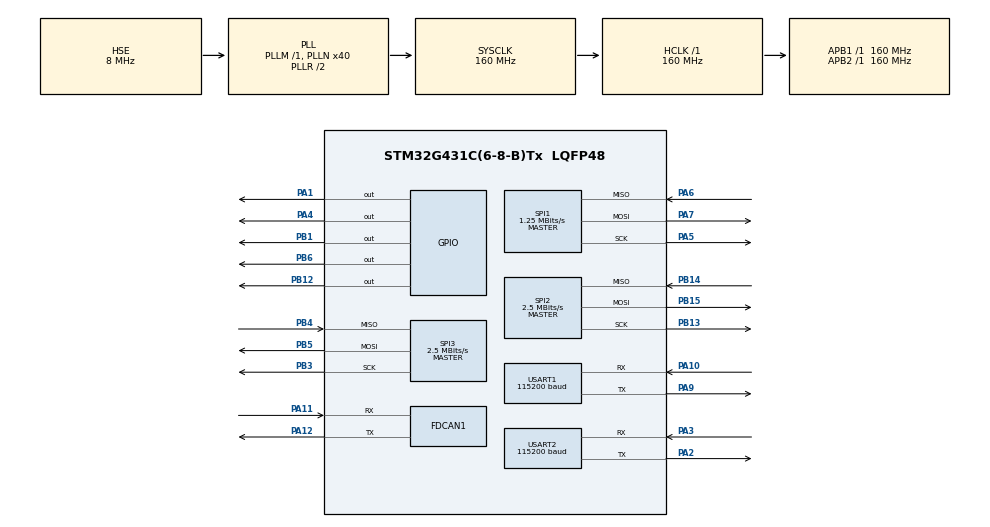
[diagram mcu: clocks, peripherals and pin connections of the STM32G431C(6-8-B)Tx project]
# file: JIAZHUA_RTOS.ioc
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FDCAN1.AutoRetransmission=DISABLE
FDCAN1.CalculateBaudRateNominal=1000000
FDCAN1.CalculateTimeBitNominal=1000
FDCAN1.CalculateTimeQuantumNominal=50.0
FDCAN1.ClockDivider=FDCAN_CLOCK_DIV1
FDCAN1.DataPrescaler=4
FDCAN1.DataSyncJumpWidth=5
FDCAN1.DataTimeSeg1=14
FDCAN1.DataTimeSeg2=5
FDCAN1.NominalPrescaler=4
FDCAN1.NominalSyncJumpWidth=5
FDCAN1.NominalTimeSeg1=14
FDCAN1.NominalTimeSeg2=5
FDCAN1.StdFiltersNbr=1
FREERTOS.BinarySemaphores01=Spi2RxSem,Dynamic,NULL,Depleted;Spi3RxSem,Dynamic,NULL,Depleted
FREERTOS.Tasks01=MOTORTask,40,1024,StartMOTORTask,Default,NULL,Dynamic,NULL,NULL;LEDTask,8,128,StartLEDTask,Default,NULL,Dynamic,NULL,NULL;AS5048ATask,8,512,StartAS5048ATask,Default,NULL,Dynamic,NULL,NULL;PRESSURETask,24,1024,StartPRESSURETask,Default,NULL,Dynamic,NULL,NULL;UART1PrintTask,8,768,StartUART1PrintTask,Default,NULL,Dynamic,NULL,NULL;ModbusTask,8,512,StartModbusTask,Default,NULL,Dynamic,NULL,NULL
FREERTOS.configTOTAL_HEAP_SIZE=20480
Mcu.Family=STM32G4
Mcu.Name=STM32G431C(6-8-B)Tx
Mcu.Package=LQFP48
NVIC.FDCAN1_IT0_IRQn=true\:5\:0\:true\:false\:true\:true\:true\:true\:true
NVIC.FDCAN1_IT1_IRQn=true\:5\:0\:false\:false\:true\:true\:true\:true\:true
NVIC.PriorityGroup=NVIC_PRIORITYGROUP_4
NVIC.SPI2_IRQn=true\:5\:0\:false\:false\:true\:true\:true\:true\:true
NVIC.SPI3_IRQn=true\:5\:0\:false\:false\:true\:true\:true\:true\:true
NVIC.TIM3_IRQn=true\:5\:0\:false\:false\:true\:true\:true\:true\:true
NVIC.TIM6_DAC_IRQn=true\:15\:0\:false\:false\:true\:false\:false\:true\:true
NVIC.TimeBase=TIM6_DAC_IRQn
NVIC.TimeBaseIP=TIM6
NVIC.USART2_IRQn=true\:5\:0\:false\:false\:true\:true\:true\:true\:true
PA1.Signal=GPIO_Output
PA10.Mode=Asynchronous
PA10.Signal=USART1_RX
PA11.Mode=FDCAN_Activate
PA11.Signal=FDCAN1_RX
PA12.Mode=FDCAN_Activate
PA12.Signal=FDCAN1_TX
PA13.Mode=Serial_Wire
PA13.Signal=SYS_JTMS-SWDIO
PA14.Mode=Serial_Wire
PA14.Signal=SYS_JTCK-SWCLK
PA2.Mode=Asynchronous
PA2.Signal=USART2_TX
PA3.Mode=Asynchronous
PA3.Signal=USART2_RX
PA4.GPIO_Speed=GPIO_SPEED_FREQ_HIGH
PA4.PinState=GPIO_PIN_SET
PA4.Signal=GPIO_Output
PA5.GPIO_Speed=GPIO_SPEED_FREQ_VERY_HIGH
PA5.Mode=Full_Duplex_Master
PA5.Signal=SPI1_SCK
PA6.GPIO_Speed=GPIO_SPEED_FREQ_VERY_HIGH
PA6.Mode=Full_Duplex_Master
PA6.Signal=SPI1_MISO
PA7.GPIO_Speed=GPIO_SPEED_FREQ_VERY_HIGH
PA7.Mode=Full_Duplex_Master
PA7.Signal=SPI1_MOSI
PA9.Mode=Asynchronous
PA9.Signal=USART1_TX
PB0.Signal=S_TIM3_CH3
PB1.GPIO_ModeDefaultOutputPP=GPIO_MODE_OUTPUT_PP
PB1.PinState=GPIO_PIN_SET
PB1.Signal=GPIO_Output
PB12.GPIO_Speed=GPIO_SPEED_FREQ_HIGH
PB12.PinState=GPIO_PIN_SET
PB12.Signal=GPIO_Output
PB13.GPIO_Speed=GPIO_SPEED_FREQ_VERY_HIGH
PB13.Mode=Full_Duplex_Master
PB13.Signal=SPI2_SCK
PB14.GPIO_Speed=GPIO_SPEED_FREQ_VERY_HIGH
PB14.Mode=Full_Duplex_Master
PB14.Signal=SPI2_MISO
PB15.GPIO_Speed=GPIO_SPEED_FREQ_VERY_HIGH
PB15.Mode=Full_Duplex_Master
PB15.Signal=SPI2_MOSI
PB3.GPIO_Speed=GPIO_SPEED_FREQ_VERY_HIGH
PB3.Mode=Full_Duplex_Master
PB3.Signal=SPI3_SCK
PB4.GPIO_Speed=GPIO_SPEED_FREQ_VERY_HIGH
PB4.Mode=Full_Duplex_Master
PB4.Signal=SPI3_MISO
PB5.GPIO_Speed=GPIO_SPEED_FREQ_VERY_HIGH
PB5.Mode=Full_Duplex_Master
PB5.Signal=SPI3_MOSI
PB6.GPIO_Speed=GPIO_SPEED_FREQ_HIGH
PB6.PinState=GPIO_PIN_SET
PB6.Signal=GPIO_Output
PC14-OSC32_IN.Mode=LSE-External-Oscillator
PC14-OSC32_IN.Signal=RCC_OSC32_IN
PC15-OSC32_OUT.Mode=LSE-External-Oscillator
PC15-OSC32_OUT.Signal=RCC_OSC32_OUT
PF0-OSC_IN.Mode=HSE-External-Oscillator
PF0-OSC_IN.Signal=RCC_OSC_IN
PF1-OSC_OUT.Mode=HSE-External-Oscillator
PF1-OSC_OUT.Signal=RCC_OSC_OUT
ProjectManager.HeapSize=0x200
ProjectManager.StackSize=0x400
ProjectManager.TargetToolchain=MDK-ARM V5.32
RCC.ADC12Freq_Value=160000000
RCC.AHBFreq_Value=160000000
RCC.APB1Freq_Value=160000000
RCC.APB1TimFreq_Value=160000000
RCC.APB2Freq_Value=160000000
RCC.APB2TimFreq_Value=160000000
RCC.CortexFreq_Value=160000000
RCC.EXTERNAL_CLOCK_VALUE=12288000
RCC.FDCANCLockSelection=RCC_FDCANCLKSOURCE_PLL
RCC.HCLKFreq_Value=160000000
RCC.HSE_VALUE=8000000
RCC.HSI48_VALUE=48000000
RCC.HSI_VALUE=16000000
RCC.PLLN=40
RCC.PLLQ=RCC_PLLQ_DIV4
RCC.PLLSourceVirtual=RCC_PLLSOURCE_HSE
RCC.SYSCLKFreq_VALUE=160000000
RCC.SYSCLKSource=RCC_SYSCLKSOURCE_PLLCLK
RCC.USBFreq_Value=80000000
RCC.VCOOutputFreq_Value=320000000
SH.S_TIM3_CH3.0=TIM3_CH3
SPI1.BaudRatePrescaler=SPI_BAUDRATEPRESCALER_128
SPI1.CLKPhase=SPI_PHASE_2EDGE
SPI1.CalculateBaudRate=1.25 MBits/s
SPI1.DataSize=SPI_DATASIZE_16BIT
SPI1.Direction=SPI_DIRECTION_2LINES
SPI1.Mode=SPI_MODE_MASTER
SPI1.VirtualType=VM_MASTER
SPI2.BaudRatePrescaler=SPI_BAUDRATEPRESCALER_64
SPI2.CalculateBaudRate=2.5 MBits/s
SPI2.DataSize=SPI_DATASIZE_8BIT
SPI2.Direction=SPI_DIRECTION_2LINES
SPI2.Mode=SPI_MODE_MASTER
SPI2.NSSPMode=SPI_NSS_PULSE_DISABLE
SPI2.VirtualType=VM_MASTER
SPI3.BaudRatePrescaler=SPI_BAUDRATEPRESCALER_64
SPI3.CalculateBaudRate=2.5 MBits/s
SPI3.DataSize=SPI_DATASIZE_8BIT
SPI3.Direction=SPI_DIRECTION_2LINES
SPI3.Mode=SPI_MODE_MASTER
SPI3.NSSPMode=SPI_NSS_PULSE_DISABLE
SPI3.VirtualType=VM_MASTER
TIM3.PeriodNoDither=999
TIM3.Prescaler=169
USART1.BaudRate=115200
USART1.VirtualMode-Asynchronous=VM_ASYNC
USART2.BaudRate=115200
USART2.VirtualMode-Asynchronous=VM_ASYNC
VP_FREERTOS_VS_CMSIS_V2.Mode=CMSIS_V2
VP_SYS_VS_DBSignals.Mode=DisableDeadBatterySignals
VP_SYS_VS_tim6.Mode=TIM6
VP_TIM3_VS_ClockSourceINT.Mode=Internal
board=custom

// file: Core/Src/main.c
/* USER CODE BEGIN Header */
/**
  ******************************************************************************
  * @file           : main.c
  * @brief          : Main program body
  ******************************************************************************
  * @attention
  *
  * Copyright (c) 2025 STMicroelectronics.
  * All rights reserved.
  *
  * This software is licensed under terms that can be found in the LICENSE file
  * in the root directory of this software component.
  * If no LICENSE file comes with this software, it is provided AS-IS.
  *
  ******************************************************************************
  */
/* USER CODE END Header */
#include "main.h"
#include "cmsis_os.h"
#include "fdcan.h"
#include "spi.h"
#include "tim.h"
#include "usart.h"
#include "gpio.h"

/* USER CODE BEGIN Includes */
#include "AS5048A.h"
#include <stdio.h>
#include "bsp_fdcan.h"
#include "dm_motor_ctrl.h"
#include "dm_modbus_bridge.h"
/* USER CODE END Includes */

/* USER CODE BEGIN PTD */
int fputc(int ch, FILE *f)
{
    HAL_UART_Transmit(&huart1, (uint8_t*)&ch, 1, 10);
    return ch;
}
/* USER CODE END PTD */

void SystemClock_Config(void);
void MX_FREERTOS_Init(void);

int main(void)
{

  /* MCU Configuration--------------------------------------------------------*/

  /* Reset of all peripherals, Initializes the Flash interface and the Systick. */
  HAL_Init();

  /* Configure the system clock */
  SystemClock_Config();

  /* Initialize all configured peripherals */
  MX_GPIO_Init();
  MX_FDCAN1_Init();
  MX_USART1_UART_Init();
  MX_TIM3_Init();
  MX_SPI1_Init();
  MX_SPI2_Init();
  MX_SPI3_Init();
  MX_USART2_UART_Init();
  /* USER CODE BEGIN 2 */

  bsp_can_init();
  dm_motor_init();
  /* USER CODE END 2 */

  /* Init scheduler */
  osKernelInitialize();  /* Call init function for freertos objects (in cmsis_os2.c) */
  MX_FREERTOS_Init();

  /* Start scheduler */
  osKernelStart();

  /* We should never get here as control is now taken by the scheduler */

  /* Infinite loop */
  while (1)
  {

  }
}

void SystemClock_Config(void)
{
  RCC_OscInitTypeDef RCC_OscInitStruct = {0};
  RCC_ClkInitTypeDef RCC_ClkInitStruct = {0};

  /** Configure the main internal regulator output voltage
  */
  HAL_PWREx_ControlVoltageScaling(PWR_REGULATOR_VOLTAGE_SCALE1_BOOST);

  /** Initializes the RCC Oscillators according to the specified parameters
  * in the RCC_OscInitTypeDef structure.
  */
  RCC_OscInitStruct.OscillatorType = RCC_OSCILLATORTYPE_HSE;
  RCC_OscInitStruct.HSEState = RCC_HSE_ON;
  RCC_OscInitStruct.PLL.PLLState = RCC_PLL_ON;
  RCC_OscInitStruct.PLL.PLLSource = RCC_PLLSOURCE_HSE;
  RCC_OscInitStruct.PLL.PLLM = RCC_PLLM_DIV1;
  RCC_OscInitStruct.PLL.PLLN = 40;
  RCC_OscInitStruct.PLL.PLLP = RCC_PLLP_DIV2;
  RCC_OscInitStruct.PLL.PLLQ = RCC_PLLQ_DIV4;
  RCC_OscInitStruct.PLL.PLLR = RCC_PLLR_DIV2;
  if (HAL_RCC_OscConfig(&RCC_OscInitStruct) != HAL_OK)
  {
    Error_Handler();
  }

  /** Initializes the CPU, AHB and APB buses clocks
  */
  RCC_ClkInitStruct.ClockType = RCC_CLOCKTYPE_HCLK|RCC_CLOCKTYPE_SYSCLK
                              |RCC_CLOCKTYPE_PCLK1|RCC_CLOCKTYPE_PCLK2;
  RCC_ClkInitStruct.SYSCLKSource = RCC_SYSCLKSOURCE_PLLCLK;
  RCC_ClkInitStruct.AHBCLKDivider = RCC_SYSCLK_DIV1;
  RCC_ClkInitStruct.APB1CLKDivider = RCC_HCLK_DIV1;
  RCC_ClkInitStruct.APB2CLKDivider = RCC_HCLK_DIV1;

  if (HAL_RCC_ClockConfig(&RCC_ClkInitStruct, FLASH_LATENCY_4) != HAL_OK)
  {
    Error_Handler();
  }
}

/* USER CODE BEGIN 4 */

extern osSemaphoreId_t SpiRxSemHandle;
void HAL_SPI_RxCpltCallback(SPI_HandleTypeDef *hspi)
{
    if (hspi->Instance == SPI2 || hspi->Instance == SPI3) {
        osSemaphoreRelease(SpiRxSemHandle);
    }
}

void HAL_SPI_TxRxCpltCallback(SPI_HandleTypeDef *hspi)
{
    if (hspi->Instance == SPI2 || hspi->Instance == SPI3) {
        osSemaphoreRelease(SpiRxSemHandle);
    }
}

void HAL_SPI_ErrorCallback(SPI_HandleTypeDef *hspi)
{
    (void)hspi;
    /* no semaphore release here (avoid false wakeups); waiters will timeout and abort */
}

void HAL_UARTEx_RxEventCallback(UART_HandleTypeDef *huart, uint16_t Size)
{
  if (huart == &huart2)
  {
    DM_Bridge_OnUartIdle(huart, Size);
  }
}

void HAL_UART_TxCpltCallback(UART_HandleTypeDef *huart)
{
  if (huart == &huart2)
  {
    DM_Bridge_OnUartTxDone(huart);
  }
}

void HAL_UART_ErrorCallback(UART_HandleTypeDef *huart)
{
  if (huart == &huart2) {
    __HAL_UART_CLEAR_OREFLAG(huart);
    DM_Bridge_Start();  // 出错后重启接收
  }
}

/* USER CODE END 4 */

void HAL_TIM_PeriodElapsedCallback(TIM_HandleTypeDef *htim)
{
  if (htim->Instance == TIM6)
  {
    HAL_IncTick();
  }
}

void Error_Handler(void)
{
  __disable_irq();
  while (1)
  {
  }
}

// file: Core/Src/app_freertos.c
/* USER CODE BEGIN Header */
/**
  ******************************************************************************
  * File Name          : app_freertos.c
  * Description        : Code for freertos applications
  ******************************************************************************
  * @attention
  *
  * Copyright (c) 2025 STMicroelectronics.
  * All rights reserved.
  *
  * This software is licensed under terms that can be found in the LICENSE file
  * in the root directory of this software component.
  * If no LICENSE file comes with this software, it is provided AS-IS.
  *
  ******************************************************************************
  */
/* USER CODE END Header */

#include "FreeRTOS.h"
#include "task.h"
#include "main.h"
#include "cmsis_os.h"

/* USER CODE BEGIN Includes */
#include "pressure_history.h"
#include "AS5048A.h"
#include "bsp_fdcan.h"
#include "dm_motor_ctrl.h"
#include "dm_motor_drv.h"
#include <string.h>
#include <stdio.h>
#include "pressure_sensor.h"
#include "Uart1_Print.h"
#include "dm_modbus_bridge.h"
#include "usart.h"
#include "force_estimator.h"

/* USER CODE END Includes */

/* USER CODE BEGIN PD */
#define PRESSURE_SPI_DIAG_MINIMAL 0

/* USER CODE END PD */

/* Definitions for MOTORTask */
osThreadId_t MOTORTaskHandle;
const osThreadAttr_t MOTORTask_attributes = {
  .name = "MOTORTask",
  .priority = (osPriority_t) osPriorityHigh,
  .stack_size = 1024 * 4
};
/* Definitions for LEDTask */
osThreadId_t LEDTaskHandle;
const osThreadAttr_t LEDTask_attributes = {
  .name = "LEDTask",
  .priority = (osPriority_t) osPriorityLow,
  .stack_size = 128 * 4
};
/* Definitions for AS5048ATask */
osThreadId_t AS5048ATaskHandle;
const osThreadAttr_t AS5048ATask_attributes = {
  .name = "AS5048ATask",
  .priority = (osPriority_t) osPriorityLow,
  .stack_size = 512 * 4
};
/* Definitions for PRESSURETask */
osThreadId_t PRESSURETaskHandle;
const osThreadAttr_t PRESSURETask_attributes = {
  .name = "PRESSURETask",
  .priority = (osPriority_t) osPriorityNormal,
  .stack_size = 1024 * 4
};
/* Definitions for UART1PrintTask */
osThreadId_t UART1PrintTaskHandle;
const osThreadAttr_t UART1PrintTask_attributes = {
  .name = "UART1PrintTask",
  .priority = (osPriority_t) osPriorityLow,
  .stack_size = 768 * 4
};
/* Definitions for ModbusTask */
osThreadId_t ModbusTaskHandle;
const osThreadAttr_t ModbusTask_attributes = {
  .name = "ModbusTask",
  .priority = (osPriority_t) osPriorityLow,
  .stack_size = 512 * 4
};
/* Definitions for SpiRxSem */
osSemaphoreId_t SpiRxSemHandle;
const osSemaphoreAttr_t SpiRxSem_attributes = {
  .name = "SpiRxSem"
};

void StartMOTORTask(void *argument);
void StartLEDTask(void *argument);
void StartAS5048ATask(void *argument);
void StartPRESSURETask(void *argument);
void StartUART1PrintTask(void *argument);
void StartModbusTask(void *argument);

void MX_FREERTOS_Init(void); /* (MISRA C 2004 rule 8.1) */

void MX_FREERTOS_Init(void) {
  /* USER CODE BEGIN Init */
  PressureHistory_Init(1u, 1u);

  /* USER CODE END Init */

  /* Create the semaphores(s) */
  /* creation of SpiRxSem */
  SpiRxSemHandle = osSemaphoreNew(1, 0, &SpiRxSem_attributes);

  /* Create the thread(s) */
  /* creation of MOTORTask */
#if !PRESSURE_SPI_DIAG_MINIMAL
  MOTORTaskHandle = osThreadNew(StartMOTORTask, NULL, &MOTORTask_attributes);
#endif

  /* creation of LEDTask */
  LEDTaskHandle = osThreadNew(StartLEDTask, NULL, &LEDTask_attributes);

  /* creation of AS5048ATask */
  AS5048ATaskHandle = osThreadNew(StartAS5048ATask, NULL, &AS5048ATask_attributes);

  /* creation of PRESSURETask */
  PRESSURETaskHandle = osThreadNew(StartPRESSURETask, NULL, &PRESSURETask_attributes);

  /* creation of UART1PrintTask */
  UART1PrintTaskHandle = osThreadNew(StartUART1PrintTask, NULL, &UART1PrintTask_attributes);

  /* creation of ModbusTask */
#if !PRESSURE_SPI_DIAG_MINIMAL
  ModbusTaskHandle = osThreadNew(StartModbusTask, NULL, &ModbusTask_attributes);
#endif

}

void StartMOTORTask(void *argument)
{
  /* USER CODE BEGIN StartMOTORTask */
  osDelay(500);

  motor[Motor1].ctrl.mode   = mit_mode;
  motor[Motor1].ctrl.kp_set = 0.0f;
  motor[Motor1].ctrl.kd_set = 0.0f;
  motor[Motor1].ctrl.vel_set = 0.0f;
  motor[Motor1].ctrl.tor_set = 0.0f;
  motor[Motor1].ctrl.pos_set = 0.0f;

  /* Infinite loop */
  for(;;)
  {
      dm_motor_ctrl_send(&hfdcan1, &motor[Motor1]);
      osDelay(2);
  }
  /* USER CODE END StartMOTORTask */
}

void StartLEDTask(void *argument)
{
  /* USER CODE BEGIN StartLEDTask */
  /* Infinite loop */
  for(;;)
  {
	HAL_GPIO_TogglePin(GPIOB, GPIO_PIN_1);
    osDelay(500);

  }
  /* USER CODE END StartLEDTask */
}

void StartAS5048ATask(void *argument)
{
  /* USER CODE BEGIN StartAS5048ATask */

	AS5048A_QH_Init();
  /* Infinite loop */
  for(;;)
  {
	  AS5048A_Update_All();

    if (!error_flag)
    {
      Uart1_Print_UpdateAS5048A(true, angle_val, angle_deg, mag_val);
    }
    else
    {
      Uart1_Print_UpdateAS5048A(false, angle_val, angle_deg, mag_val);
    }

    osDelay(50);
  }
  /* USER CODE END StartAS5048ATask */
}

void StartPRESSURETask(void *argument)
{
  /* USER CODE BEGIN StartPRESSURETask */
	PressureSensor_Init();
	osDelay(100);
  /* Infinite loop */
  for(;;)
  {
	  PressureSensor_UpdateAndPrint();
      osDelay(50);
}
  /* USER CODE END StartPRESSURETask */
}

void StartUART1PrintTask(void *argument)
{
  /* USER CODE BEGIN StartUART1PrintTask */
  /* Infinite loop */
  for(;;)
  {
	UART1Print(argument);
    osDelay(1);
  }
  /* USER CODE END StartUART1PrintTask */
}

void StartModbusTask(void *argument)
{
  /* USER CODE BEGIN StartModbusTask */
	 osDelay(20);
	 ForceEstimator_Init();
  // 初始化桥接，并启动UART2的ReceiveToIdle
	DM_Bridge_Init(&huart2, &hfdcan1, 1);  // motor_id=1
	DM_Bridge_Start();

  /* Infinite loop */
  for(;;)
  {
	DM_Bridge_Poll();
    osDelay(1);
  }
  /* USER CODE END StartModbusTask */
}
